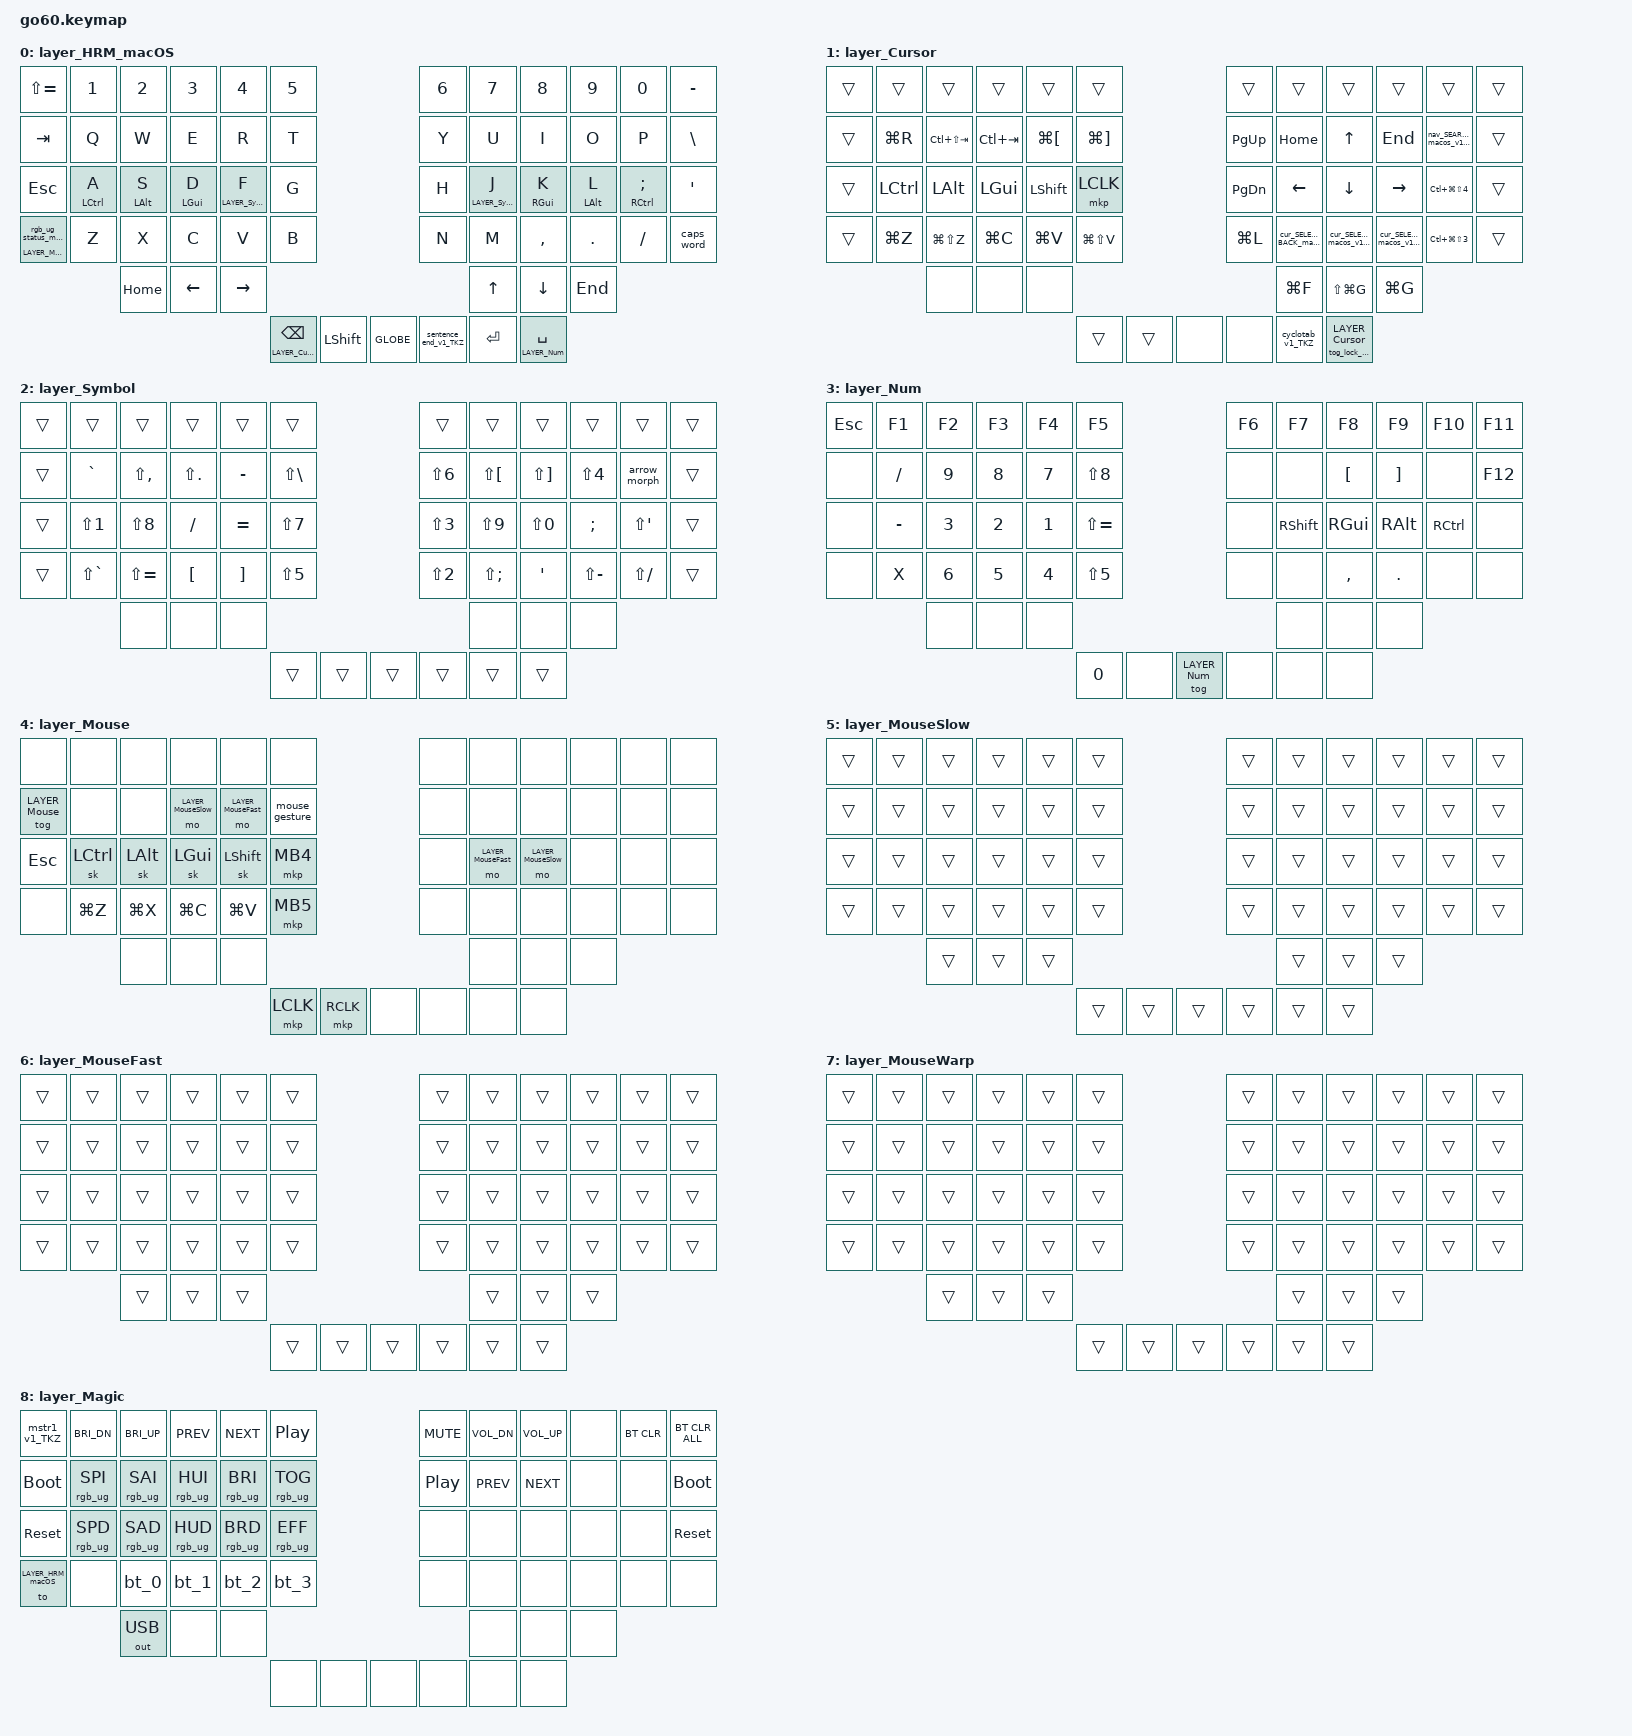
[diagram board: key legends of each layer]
/*
 * Copyright (c) 2020 The ZMK Contributors
 * Copyright (c) 2025 Innaworks Development Limited, trading as MoErgo
 *
 * SPDX-License-Identifier: MIT
 */


/* THIS FILE WAS GENERATED BY GO60 LAYOUT EDITOR
 *
 * This file was generated automatically. You may or may not want to
 * edit it directly.
 */

#include <behaviors.dtsi>

/* Include all behavior includes needed */

#include <dt-bindings/zmk/outputs.h>
#include <dt-bindings/zmk/keys.h>
#include <dt-bindings/zmk/modifiers.h>
#include <dt-bindings/zmk/bt.h>
#include <dt-bindings/zmk/rgb.h>

#include <input/processors.dtsi>
#include <dt-bindings/zmk/input_transform.h>
#include <zephyr/dt-bindings/input/input-event-codes.h>

/* On demand includes */
#include <dt-bindings/zmk/input_transform.h>
#include <dt-bindings/zmk/pointing.h>
#include <input/processors.dtsi>
#include <mouse-gesture.dtsi>

/* Helper Macros, based on https://github.com/urob/zmk-helpers/ */

#pragma once

#define ZMK_HELPER_STRINGIFY(x) #x

// Preprocessor mechanism to overload macros, cf. https://stackoverflow.com/a/27051616/6114651
#define VARGS_(_10, _9, _8, _7, _6, _5, _4, _3, _2, _1, N, ...) N
#define VARGS(...) VARGS_(__VA_ARGS__, 10, 9, 8, 7, 6, 5, 4, 3, 2, 1, 0)
#define CONCAT_(a, b) a##b
#define CONCAT(a, b) CONCAT_(a, b)

/* Key positions */

#define POS_LH_C6R1 0
#define POS_LH_C5R1 1
#define POS_LH_C4R1 2
#define POS_LH_C3R1 3
#define POS_LH_C2R1 4
#define POS_LH_C1R1 5
#define POS_RH_C1R1 6
#define POS_RH_C2R1 7
#define POS_RH_C3R1 8
#define POS_RH_C4R1 9
#define POS_RH_C5R1 10
#define POS_RH_C6R1 11
#define POS_LH_C6R2 12
#define POS_LH_C5R2 13
#define POS_LH_C4R2 14
#define POS_LH_C3R2 15
#define POS_LH_C2R2 16
#define POS_LH_C1R2 17
#define POS_RH_C1R2 18
#define POS_RH_C2R2 19
#define POS_RH_C3R2 20
#define POS_RH_C4R2 21
#define POS_RH_C5R2 22
#define POS_RH_C6R2 23
#define POS_LH_C6R3 24
#define POS_LH_C5R3 25
#define POS_LH_C4R3 26
#define POS_LH_C3R3 27
#define POS_LH_C2R3 28
#define POS_LH_C1R3 29
#define POS_RH_C1R3 30
#define POS_RH_C2R3 31
#define POS_RH_C3R3 32
#define POS_RH_C4R3 33
#define POS_RH_C5R3 34
#define POS_RH_C6R3 35
#define POS_LH_C6R4 36
#define POS_LH_C5R4 37
#define POS_LH_C4R4 38
#define POS_LH_C3R4 39
#define POS_LH_C2R4 40
#define POS_LH_C1R4 41
#define POS_RH_C1R4 42
#define POS_RH_C2R4 43
#define POS_RH_C3R4 44
#define POS_RH_C4R4 45
#define POS_RH_C5R4 46
#define POS_RH_C6R4 47
#define POS_LH_C4R5 48
#define POS_LH_C3R5 49
#define POS_LH_C2R5 50
#define POS_RH_C2R5 51
#define POS_RH_C3R5 52
#define POS_RH_C4R5 53
#define POS_LH_T1 54
#define POS_LH_T2 55
#define POS_LH_T3 56
#define POS_RH_T3 57
#define POS_RH_T2 58
#define POS_RH_T1 59


#define LEFT_HAND_KEYS \
  POS_LH_C1R1 POS_LH_C2R1 POS_LH_C3R1 POS_LH_C4R1 POS_LH_C5R1 POS_LH_C6R1 \
  POS_LH_C1R2 POS_LH_C2R2 POS_LH_C3R2 POS_LH_C4R2 POS_LH_C5R2 POS_LH_C6R2 \
  POS_LH_C1R3 POS_LH_C2R3 POS_LH_C3R3 POS_LH_C4R3 POS_LH_C5R3 POS_LH_C6R3 \
  POS_LH_C1R4 POS_LH_C2R4 POS_LH_C3R4 POS_LH_C4R4 POS_LH_C5R4 POS_LH_C6R4 \
              POS_LH_C2R5 POS_LH_C3R5 POS_LH_C4R5

#define RIGHT_HAND_KEYS \
  POS_RH_C1R1 POS_RH_C2R1 POS_RH_C3R1 POS_RH_C4R1 POS_RH_C5R1 POS_RH_C6R1 \
  POS_RH_C1R2 POS_RH_C2R2 POS_RH_C3R2 POS_RH_C4R2 POS_RH_C5R2 POS_RH_C6R2 \
  POS_RH_C1R3 POS_RH_C2R3 POS_RH_C3R3 POS_RH_C4R3 POS_RH_C5R3 POS_RH_C6R3 \
  POS_RH_C1R4 POS_RH_C2R4 POS_RH_C3R4 POS_RH_C4R4 POS_RH_C5R4 POS_RH_C6R4 \
              POS_RH_C2R5 POS_RH_C3R5 POS_RH_C4R5

#define THUMB_KEYS \
  POS_LH_T1 POS_LH_T2 POS_LH_T3 \
  POS_RH_T1 POS_RH_T2 POS_RH_T3

#define KEYS_L LEFT_HAND_KEYS
#define KEYS_R RIGHT_HAND_KEYS
#define THUMBS THUMB_KEYS

/* Environment and metadata defines */
#define KB_TYPE_GLOVE_80 1
#define KB_TYPE_GO_60    2

#define KB_TYPE          KB_TYPE_GO_60
#define EDITOR_LAYOUT_OS 'M'
#define EDITOR_HOST_OS   'W'

/* Automatically generated layer name defines */
#define LAYER_HRM_macOS 0
#define LAYER_Cursor 1
#define LAYER_Symbol 2
#define LAYER_Num 3
#define LAYER_Mouse 4
#define LAYER_MouseSlow 5
#define LAYER_MouseFast 6
#define LAYER_MouseWarp 7
#define LAYER_Magic 8

/* Generated input processors */


/* Custom Device-tree */
&zip_mouse_gesture {
    stroke-size = <300>;
    movement-threshold = <3>;
    enable-eager-mode;
    suppress-movement;
    gesture-cooldown-ms = <500>;

    mission_control {
        pattern = <GESTURE_UP>;
        bindings = <&kp LC(UP)>;
    };

    app_expose {
        pattern = <GESTURE_DOWN>;
        bindings = <&kp LC(DOWN)>;
    };

    desktop_left {
        pattern = <GESTURE_LEFT>;
        bindings = <&kp LC(LEFT)>;
    };

    desktop_right {
        pattern = <GESTURE_RIGHT>;
        bindings = <&kp LC(RIGHT)>;
    };
};

/ {
    mouse_mode_indicator {
        compatible = "zmk,mouse-mode-indicator";
        layers = <LAYER_Mouse LAYER_MouseSlow LAYER_MouseFast LAYER_MouseWarp>;
        pixels = <3 4 5 6>;
        color = <40 0 0>;
    };
};


/* Input Listeners */
&mmv_input_listener {
    // LAYER_MouseSlow
    LAYER_MouseSlow {
        layers = <LAYER_MouseSlow>;
        input-processors = <&zip_xy_scaler 1 9>;
    };
    // LAYER_MouseFast
    LAYER_MouseFast {
        layers = <LAYER_MouseFast>;
        input-processors = <&zip_xy_scaler 3 1>;
    };
    // LAYER_MouseFast
    LAYER_MouseWarp {
        layers = <LAYER_MouseWarp>;
        input-processors = <&zip_xy_scaler 12 1>;
    };
};

&cirque_lh_listener {
    input-processors = <&zip_xy_scaler 1 21>, <&zip_xy_transform INPUT_TRANSFORM_Y_INVERT>, <&zip_xy_to_scroll_mapper>, <&zip_temp_layer LAYER_Mouse 250>;
    layer_MouseSlow {
        layers = <LAYER_MouseSlow>;
        input-processors = <&zip_xy_scaler 1 42>, <&zip_xy_transform INPUT_TRANSFORM_Y_INVERT>, <&zip_xy_to_scroll_mapper>;
    };
    layer_MouseFast {
        layers = <LAYER_MouseFast>;
        input-processors = <&zip_xy_scaler 2 21>, <&zip_xy_transform INPUT_TRANSFORM_Y_INVERT>, <&zip_xy_to_scroll_mapper>;
    };
    layer_MouseWarp {
        layers = <LAYER_MouseWarp>;
        input-processors = <&zip_xy_scaler 4 21>, <&zip_xy_transform INPUT_TRANSFORM_Y_INVERT>, <&zip_xy_to_scroll_mapper>;
    };
};

&cirque_rh_listener {
    input-processors = <&zip_xy_scaler 4 1>, <&zip_mouse_gesture>, <&zip_temp_layer LAYER_Mouse 250>;
    layer_MouseSlow {
        layers = <LAYER_MouseSlow>;
        input-processors = <&zip_xy_scaler 2 1>, <&zip_mouse_gesture>;
    };
    layer_MouseFast {
        layers = <LAYER_MouseFast>;
        input-processors = <&zip_xy_scaler 8 1>, <&zip_mouse_gesture>;
    };
};

/* System behavior and macros */
/ {
    macros {
        rgb_ug_status_macro: rgb_ug_status_macro {
            label = "RGB_UG_STATUS";
            compatible = "zmk,behavior-macro";
            #binding-cells = <0>;
            bindings
                = <&rgb_ug RGB_STATUS>;
        };
    };
};

/ {
#ifdef BT_DISC_CMD
    behaviors {
        bt_0: bt_0 {
            compatible = "zmk,behavior-tap-dance";
            label = "BT_0";
            #binding-cells = <0>;
            tapping-term-ms = <200>;
            bindings = <&bt_select_0>, <&bt BT_DISC 0>;
        };
        bt_1: bt_1 {
            compatible = "zmk,behavior-tap-dance";
            label = "BT_1";
            #binding-cells = <0>;
            tapping-term-ms = <200>;
            bindings = <&bt_select_1>, <&bt BT_DISC 1>;
        };
        bt_2: bt_2 {
            compatible = "zmk,behavior-tap-dance";
            label = "BT_2";
            #binding-cells = <0>;
            tapping-term-ms = <200>;
            bindings = <&bt_select_2>, <&bt BT_DISC 2>;
        };
        bt_3: bt_3 {
            compatible = "zmk,behavior-tap-dance";
            label = "BT_3";
            #binding-cells = <0>;
            tapping-term-ms = <200>;
            bindings = <&bt_select_3>, <&bt BT_DISC 3>;
        };
    };
    macros {
        bt_select_0: bt_select_0 {
            label = "BT_SELECT_0";
            compatible = "zmk,behavior-macro";
            #binding-cells = <0>;
            bindings
                = <&out OUT_BLE>,
                  <&bt BT_SEL 0>;
        };
        bt_select_1: bt_select_1 {
            label = "BT_SELECT_1";
            compatible = "zmk,behavior-macro";
            #binding-cells = <0>;
            bindings
                = <&out OUT_BLE>,
                  <&bt BT_SEL 1>;
        };
        bt_select_2: bt_select_2 {
            label = "BT_SELECT_2";
            compatible = "zmk,behavior-macro";
            #binding-cells = <0>;
            bindings
                = <&out OUT_BLE>,
                  <&bt BT_SEL 2>;
        };
        bt_select_3: bt_select_3 {
            label = "BT_SELECT_3";
            compatible = "zmk,behavior-macro";
            #binding-cells = <0>;
            bindings
                = <&out OUT_BLE>,
                  <&bt BT_SEL 3>;
        };
    };
#else
    macros {
        bt_0: bt_0 {
            label = "BT_0";
            compatible = "zmk,behavior-macro";
            #binding-cells = <0>;
            bindings
                = <&out OUT_BLE>,
                  <&bt BT_SEL 0>;
        };
        bt_1: bt_1 {
            label = "BT_1";
            compatible = "zmk,behavior-macro";
            #binding-cells = <0>;
            bindings
                = <&out OUT_BLE>,
                  <&bt BT_SEL 1>;
        };
        bt_2: bt_2 {
            label = "BT_2";
            compatible = "zmk,behavior-macro";
            #binding-cells = <0>;
            bindings
                = <&out OUT_BLE>,
                  <&bt BT_SEL 2>;
        };
        bt_3: bt_3 {
            label = "BT_3";
            compatible = "zmk,behavior-macro";
            #binding-cells = <0>;
            bindings
                = <&out OUT_BLE>,
                  <&bt BT_SEL 3>;
        };
    };
#endif
};

/ {
    behaviors {
        magic: magic {
            compatible = "zmk,behavior-hold-tap";
            label = "MAGIC_HOLD_TAP";
            #binding-cells = <2>;
            flavor = "tap-preferred";
            tapping-term-ms = <200>;
            bindings = <&mo>, <&rgb_ug_status_macro>;
        };
    };
};


/* Custom Defined Behaviors */
/ {
    behaviors {
        tog_lock_v1_TKZ: toggle_layer_lock_v1_TKZ {
            compatible = "zmk,behavior-toggle-layer";
            #binding-cells = <1>;
            display-name = "Locking Toggle Layer";
            toggle-mode = "flip";
            locking;
        };

        arrow_morph: arrow_morph {
            compatible = "zmk,behavior-mod-morph";
            #binding-cells = <0>;
            bindings = <&arrow_alt_morph>, <&arrow_shift_alt_morph>;
            mods = <(MOD_LSFT|MOD_RSFT)>;
        };

        arrow_alt_morph: arrow_alt_morph {
            compatible = "zmk,behavior-mod-morph";
            #binding-cells = <0>;
            bindings = <&arrow_plain_macro>, <&arrow_alt_macro>;
            mods = <(MOD_LALT|MOD_RALT)>;
        };

        arrow_shift_alt_morph: arrow_shift_alt_morph {
            compatible = "zmk,behavior-mod-morph";
            #binding-cells = <0>;
            bindings = <&arrow_shift_macro>, <&arrow_shift_alt_macro>;
            mods = <(MOD_LALT|MOD_RALT)>;
        };
    };
};

/* Automatically generated macro definitions */
/ {
    macros {

        arrow_plain_macro: arrow_plain_macro {
            label = "&ARROW_PLAIN_MACRO";
            compatible = "zmk,behavior-macro";
            #binding-cells = <0>;
            tap-ms = <0>;
            wait-ms = <0>;
            bindings = <&macro_tap>
                , <&kp MINUS>
                , <&kp LS(DOT)>;
        };

        arrow_shift_macro: arrow_shift_macro {
            label = "&ARROW_SHIFT_MACRO";
            compatible = "zmk,behavior-macro";
            #binding-cells = <0>;
            tap-ms = <0>;
            wait-ms = <0>;
            bindings = <&macro_tap>
                , <&kp EQUAL>
                , <&kp LS(DOT)>;
        };

        arrow_alt_macro: arrow_alt_macro {
            label = "&ARROW_ALT_MACRO";
            compatible = "zmk,behavior-macro";
            #binding-cells = <0>;
            tap-ms = <0>;
            wait-ms = <0>;
            bindings = <&macro_tap>
                , <&kp LS(COMMA)>
                , <&kp MINUS>
                , <&kp LS(DOT)>;
        };

        arrow_shift_alt_macro: arrow_shift_alt_macro {
            label = "&ARROW_SHIFT_ALT_MACRO";
            compatible = "zmk,behavior-macro";
            #binding-cells = <0>;
            tap-ms = <0>;
            wait-ms = <0>;
            bindings = <&macro_tap>
                , <&kp LS(COMMA)>
                , <&kp EQUAL>
                , <&kp LS(DOT)>;
        };

        sentence_end_v1_TKZ: sentence_end_v1_TKZ {
            label = "&SENTENCE_END_V1_TKZ";
            compatible = "zmk,behavior-macro";
            #binding-cells = <0>;
            tap-ms = <1>;
            wait-ms = <1>;
            bindings = <&macro_tap>
                , <&kp DOT>
                , <&kp SPACE>
                , <&skq LSHFT>;
        };

        // AutoShift Helper- &AS main macro is chained to &AS_HT hold tap and &AS_Shifted macro - TailorKey
        AS_Shifted_v1_TKZ: AS_Shifted_v1_TKZ {
            label = "&AS_SHIFTED_V1_TKZ";
            compatible = "zmk,behavior-macro-one-param";
            #binding-cells = <1>;
            tap-ms = <0>;
            wait-ms = <0>;
            bindings = <&macro_press>
                , <&kp LSHFT>
                , <&macro_tap>
                , <&macro_param_1to1>
                , <&kp MACRO_PLACEHOLDER>
                , <&macro_release>
                , <&kp LSHFT>;
        };

        // AutoShift (Assign &AS to a Key) - &AS main macro is chained to &AS_HT hold tap and &AS_Shifted macro - TailorKey
        AS_v1_TKZ: AS_v1_TKZ {
            label = "&AS_V1_TKZ";
            compatible = "zmk,behavior-macro-one-param";
            #binding-cells = <1>;
            tap-ms = <0>;
            wait-ms = <0>;
            bindings = <&macro_press>
                , <&macro_param_1to1>
                , <&macro_param_1to2>
                , <&AS_HT_v2_TKZ MACRO_PLACEHOLDER MACRO_PLACEHOLDER>
                , <&macro_pause_for_release>
                , <&macro_release>
                , <&macro_param_1to1>
                , <&macro_param_1to2>
                , <&AS_HT_v2_TKZ MACRO_PLACEHOLDER MACRO_PLACEHOLDER>;
        };

        // Cursor Layer macos - Select Line (seq) - TailorKey
        cur_SELECT_LINE_macos_v1_TKZ: cur_SELECT_LINE_macos_v1_TKZ {
            label = "&CUR_SELECT_LINE_MACOS_V1_TKZ";
            compatible = "zmk,behavior-macro";
            #binding-cells = <0>;
            tap-ms = <1>;
            wait-ms = <1>;
            bindings = <&kp LG(LEFT)>
                , <&kp LG(LS(RIGHT))>;
        };

        // Cursor Layer - Search Selected Text
        nav_SEARCH_SELECTED_macos_v1_TKZ: nav_SEARCH_SELECTED_macos_v1_TKZ {
            label = "&NAV_SEARCH_SELECTED_MACOS_V1_TKZ";
            compatible = "zmk,behavior-macro";
            #binding-cells = <0>;
            tap-ms = <1>;
            wait-ms = <50>;
            bindings = <&kp LG(C)>
                , <&kp LG(T)>
                , <&kp LG(V)>
                , <&kp RET>;
        };

        // Cursor Layer - Select Word Forward Start
        cur_SELECT_WORD_START_macos_v1_TKZ: cur_SELECT_WORD_START_macos_v1_TKZ {
            label = "&CUR_SELECT_WORD_START_MACOS_V1_TKZ";
            compatible = "zmk,behavior-macro";
            #binding-cells = <0>;
            tap-ms = <1>;
            wait-ms = <1>;
            bindings = <&kp LA(RIGHT)>
                , <&kp LA(LEFT)>;
        };

        // Cursor Layer - Select Word Backward Start
        cur_SELECT_WORD_BACK_START_macos_v1_TKZ: cur_SELECT_WORD_BACK_START_macos_v1_TKZ {
            label = "&CUR_SELECT_WORD_BACK_START_MACOS_V1_TKZ";
            compatible = "zmk,behavior-macro";
            #binding-cells = <0>;
            tap-ms = <1>;
            wait-ms = <1>;
            bindings = <&kp LA(LEFT)>
                , <&kp LA(RIGHT)>;
        };

        // Cursor Layer - Select Word
        cur_SELECT_WORD_macos_v1_TKZ: cur_SELECT_WORD_macos_v1_TKZ {
            label = "&CUR_SELECT_WORD_MACOS_V1_TKZ";
            compatible = "zmk,behavior-tri-state";
            #binding-cells = <0>;
            bindings = <&cur_SELECT_WORD_START_macos_v1_TKZ>, <&kp LA(LS(RIGHT))>, <&none>;
            timeout-ms = <2000>;
            tap-ms = <1>;
        };

        // Cursor Layer - Select Word Back
        cur_SELECT_WORD_BACK_macos_v1_TKZ: cur_SELECT_WORD_BACK_macos_v1_TKZ {
            label = "&CUR_SELECT_WORD_BACK_MACOS_V1_TKZ";
            compatible = "zmk,behavior-tri-state";
            #binding-cells = <0>;
            bindings = <&cur_SELECT_WORD_BACK_START_macos_v1_TKZ>, <&kp LA(LS(LEFT))>, <&none>;
            timeout-ms = <2000>;
            tap-ms = <1>;
        };

        // cyclotab - Voyager style app switcher
        cyclotab_v1_TKZ: cyclotab_v1_TKZ {
            label = "&CYCLOTAB_V1_TKZ";
            compatible = "zmk,behavior-tri-state";
            #binding-cells = <0>;
            bindings = <&kt LGUI>, <&kp TAB>, <&kt LGUI>;
            ignored-key-positions = <POS_LH_C2R3>;
            ignored-layers = <LAYER_Cursor>;
            timeout-ms = <1000>;
            tap-ms = <1>;
        };

        // macro string1 sample - Magic Layer F1 - Text output sample macro 1 "¡Hola!" - TailorKey
        mstr1_v1_TKZ: mstr1_v1_TKZ {
            label = "&MSTR1_V1_TKZ";
            compatible = "zmk,behavior-macro";
            #binding-cells = <0>;
            bindings = <&macro_press>
                , <&kp RALT>
                , <&macro_tap>
                , <&kp KP_N0>
                , <&kp KP_N1>
                , <&kp KP_N6>
                , <&kp KP_N1>
                , <&macro_release>
                , <&kp RALT>
                , <&macro_press>
                , <&kp LSHFT>
                , <&macro_tap>
                , <&kp H>
                , <&macro_release>
                , <&kp LSHFT>
                , <&macro_tap>
                , <&kp O>
                , <&kp L>
                , <&kp A>
                , <&kp LS(N1)>
                , <&kp SPACE>
                , <&kp RET>;
        };

        // Symbol layer dot dot
        symb_dotdot_v1_TKZ: symb_dotdot_v1_TKZ {
            label = "&SYMB_DOTDOT_V1_TKZ";
            compatible = "zmk,behavior-macro";
            #binding-cells = <0>;
            tap-ms = <0>;
            wait-ms = <0>;
            bindings = <&macro_tap>
                , <&kp DOT>
                , <&kp DOT>;
        };
    };
};

/* Automatically generated behavior definitions */
/ {
    behaviors {
        // AutoShift Helper - &AS main macro is chained to &AS_HT hold tap and &AS_Shifted macro. For faster typists, it is recommended to decrease the tapping-term-ms value. A suggested value is 135 ms.
        // More: https://github.com/nickcoutsos/keymap-editor/wiki/Autoshift-using-ZMK-behaviors
        AS_HT_v2_TKZ: AS_HT_v2_TKZ {
            compatible = "zmk,behavior-hold-tap";
            #binding-cells = <2>;
            tapping-term-ms = <190>;
            bindings = <&AS_Shifted_v1_TKZ>, <&kp>;
            flavor = "tap-preferred";
        };

        // Homerow Mod for the left index finger - TailorKey.
        // For advanced tuning of HRM values, see: https://docs.google.com/spreadsheets/d/1ESgObQelyz4lnKlfwLYsmofLJulOMK5RdGBsopLe2o8
        HRM_left_index_v1_TKZ: HRM_left_index_v1_TKZ {
            compatible = "zmk,behavior-hold-tap";
            #binding-cells = <2>;
            tapping-term-ms = <280>;
            bindings = <&kp>, <&kp>;
            flavor = "balanced";
            quick-tap-ms = <125>;
            require-prior-idle-ms = <100>;
            hold-trigger-key-positions = <KEYS_R THUMBS>;
            hold-trigger-on-release;
            hold-while-undecided;
        };

        // Symbol layer access for the left index finger.
        sym_left_index_v1_TKZ: sym_left_index_v1_TKZ {
            compatible = "zmk,behavior-hold-tap";
            #binding-cells = <2>;
            tapping-term-ms = <280>;
            bindings = <&mo>, <&kp>;
            flavor = "balanced";
            quick-tap-ms = <125>;
            require-prior-idle-ms = <100>;
            hold-trigger-key-positions = <KEYS_R THUMBS>;
            hold-trigger-on-release;
            hold-while-undecided;
        };

        // Homerow Mod for the left middle finger - TailorKey
        HRM_left_middy_v1_TKZ: HRM_left_middy_v1_TKZ {
            compatible = "zmk,behavior-hold-tap";
            #binding-cells = <2>;
            tapping-term-ms = <280>;
            bindings = <&kp>, <&kp>;
            flavor = "balanced";
            quick-tap-ms = <125>;
            require-prior-idle-ms = <150>;
            hold-trigger-key-positions = <KEYS_R THUMBS>;
            hold-trigger-on-release;
            hold-while-undecided;
        };

        // Homerow Mod for the left pinky - TailorKey
        HRM_left_pinky_v1_TKZ: HRM_left_pinky_v1_TKZ {
            compatible = "zmk,behavior-hold-tap";
            #binding-cells = <2>;
            tapping-term-ms = <280>;
            bindings = <&kp>, <&kp>;
            flavor = "balanced";
            quick-tap-ms = <125>;
            require-prior-idle-ms = <150>;
            hold-trigger-key-positions = <KEYS_R THUMBS>;
            hold-trigger-on-release;
            hold-while-undecided;
        };

        // Homerow Mod for the left ring finger 1 - TailorKey
        HRM_left_ring_v1_TKZ: HRM_left_ring_v1_TKZ {
            compatible = "zmk,behavior-hold-tap";
            #binding-cells = <2>;
            tapping-term-ms = <280>;
            bindings = <&kp>, <&kp>;
            flavor = "balanced";
            quick-tap-ms = <125>;
            require-prior-idle-ms = <150>;
            hold-trigger-key-positions = <KEYS_R THUMBS>;
            hold-trigger-on-release;
            hold-while-undecided;
        };

        // Homerow Mod for the right index finger - TailorKey
        HRM_right_index_v1_TKZ: HRM_right_index_v1_TKZ {
            compatible = "zmk,behavior-hold-tap";
            #binding-cells = <2>;
            tapping-term-ms = <280>;
            bindings = <&kp>, <&kp>;
            flavor = "balanced";
            quick-tap-ms = <125>;
            require-prior-idle-ms = <100>;
            hold-trigger-key-positions = <KEYS_L THUMBS>;
            hold-trigger-on-release;
            hold-while-undecided;
        };

        // Symbol layer access for the right index finger.
        sym_right_index_v1_TKZ: sym_right_index_v1_TKZ {
            compatible = "zmk,behavior-hold-tap";
            #binding-cells = <2>;
            tapping-term-ms = <280>;
            bindings = <&mo>, <&kp>;
            flavor = "balanced";
            quick-tap-ms = <125>;
            require-prior-idle-ms = <100>;
            hold-trigger-key-positions = <KEYS_L THUMBS>;
            hold-trigger-on-release;
            hold-while-undecided;
        };

        // Homerow Mod for the right middle finger - TailorKey
        HRM_right_middy_v1_TKZ: HRM_right_middy_v1_TKZ {
            compatible = "zmk,behavior-hold-tap";
            #binding-cells = <2>;
            tapping-term-ms = <280>;
            bindings = <&kp>, <&kp>;
            flavor = "balanced";
            quick-tap-ms = <125>;
            require-prior-idle-ms = <150>;
            hold-trigger-key-positions = <KEYS_L THUMBS>;
            hold-trigger-on-release;
            hold-while-undecided;
        };

        // Homerow Mod for the right pinky - TailorKey
        HRM_right_pinky_v1_TKZ: HRM_right_pinky_v1_TKZ {
            compatible = "zmk,behavior-hold-tap";
            #binding-cells = <2>;
            tapping-term-ms = <280>;
            bindings = <&kp>, <&kp>;
            flavor = "balanced";
            quick-tap-ms = <125>;
            require-prior-idle-ms = <150>;
            hold-trigger-key-positions = <KEYS_L THUMBS>;
            hold-trigger-on-release;
            hold-while-undecided;
        };

        // Homerow Mod for the right ring 1 - TailorKey
        //
        HRM_right_ring_v1_TKZ: HRM_right_ring_v1_TKZ {
            compatible = "zmk,behavior-hold-tap";
            #binding-cells = <2>;
            tapping-term-ms = <280>;
            bindings = <&kp>, <&kp>;
            flavor = "balanced";
            quick-tap-ms = <125>;
            require-prior-idle-ms = <150>;
            hold-trigger-key-positions = <KEYS_L THUMBS>;
            hold-trigger-on-release;
            hold-while-undecided;
        };

        // thumb_layer_access - TailorKey
        thumb_v2_TKZ: thumb_v2_TKZ {
            compatible = "zmk,behavior-hold-tap";
            #binding-cells = <2>;
            tapping-term-ms = <200>;
            bindings = <&mo>, <&kp>;
            flavor = "balanced";
            quick-tap-ms = <300>;
        };

        skq: sticky_key_quick_release {
            compatible = "zmk,behavior-sticky-key";
            label = "STICKY_KEY_QUICK_RELEASE";
            #binding-cells = <1>;
            bindings = <&kp>;
            release-after-ms = <1000>;
            quick-release;
            ignore-modifiers;
        };

        // thumb_layer_sticky_access - TailorKey
        thumb_sk_v1_TKZ: thumb_sk_v1_TKZ {
            compatible = "zmk,behavior-hold-tap";
            #binding-cells = <2>;
            tapping-term-ms = <200>;
            bindings = <&mo>, <&skq>;
            flavor = "balanced";
            quick-tap-ms = <300>;
        };
    };
};

/* Automatically generated combos definitions */
/ {
    combos {
        compatible = "zmk,combos";

        // F1 combo for Go60 - TailorKey
        combo_F1_cb_v1_TKZ {
            key-positions = <POS_LH_C5R1 POS_LH_C5R2>;
            bindings = <&kp F1>;
            layers = <LAYER_HRM_macOS>;
        };

        // F10 combo for Go60 - TailorKey
        combo_F10_cb_v1_TKZ {
            key-positions = <POS_RH_C5R1 POS_RH_C5R2>;
            bindings = <&kp F10>;
            layers = <LAYER_HRM_macOS>;
        };

        // F11 combo for Go60 - TailorKey
        combo_F11_cb_v1_TKZ {
            key-positions = <POS_RH_C6R1 POS_RH_C6R2>;
            bindings = <&kp F11>;
            layers = <LAYER_HRM_macOS>;
        };

        // F12 combo for Go60 - TailorKey
        combo_F12_cb_v1_TKZ {
            key-positions = <POS_RH_C5R1 POS_RH_C6R1>;
            bindings = <&kp F12>;
            layers = <LAYER_HRM_macOS>;
        };

        // F2 combo for Go60 - TailorKey
        combo_F2_cb_v1_TKZ {
            key-positions = <POS_LH_C4R2 POS_LH_C4R1>;
            bindings = <&kp F2>;
            layers = <LAYER_HRM_macOS>;
        };

        // F3 combo for Go60 - TailorKey
        combo_F3_cb_v1_TKZ {
            key-positions = <POS_LH_C3R2 POS_LH_C3R1>;
            bindings = <&kp F3>;
            layers = <LAYER_HRM_macOS>;
        };

        // F4 combo for Go60 - TailorKey
        combo_F4_cb_v1_TKZ {
            key-positions = <POS_LH_C2R2 POS_LH_C2R1>;
            bindings = <&kp F4>;
            layers = <LAYER_HRM_macOS>;
        };

        // F5 combo for Go60 - TailorKey
        combo_F5_cb_v1_TKZ {
            key-positions = <POS_LH_C1R2 POS_LH_C1R1>;
            bindings = <&kp F5>;
            layers = <LAYER_HRM_macOS>;
        };

        // F6 combo for Go60 - TailorKey
        combo_F6_cb_v1_TKZ {
            key-positions = <POS_RH_C1R1 POS_RH_C1R2>;
            bindings = <&kp F6>;
            layers = <LAYER_HRM_macOS>;
        };

        // F7 combo for Go60 - TailorKey
        combo_F7_cb_v1_TKZ {
            key-positions = <POS_RH_C2R1 POS_RH_C2R2>;
            bindings = <&kp F7>;
            layers = <LAYER_HRM_macOS>;
        };

        // F8 combo for Go60 - TailorKey
        combo_F8_cb_v1_TKZ {
            key-positions = <POS_RH_C3R1 POS_RH_C3R2>;
            bindings = <&kp F8>;
            layers = <LAYER_HRM_macOS>;
        };

        // F9 combo for Go60 - TailorKey
        combo_F9_cb_v1_TKZ {
            key-positions = <POS_RH_C4R1 POS_RH_C4R2>;
            bindings = <&kp F9>;
            layers = <LAYER_HRM_macOS>;
        };

    };
};

/* Automatically generated keymap */
/ {
    keymap {
        compatible = "zmk,keymap";


        layer_HRM_macOS {
            bindings = <
       &kp LS(EQUAL)                      &kp N1                        &kp N2                         &kp N3                          &kp N4  &kp N5                                                                                                                                                            &kp N6                           &kp N7                          &kp N8                         &kp N9                              &kp N0         &kp MINUS
           &kp TAB                           &kp Q                         &kp W                          &kp E                           &kp R   &kp T                                                                                                                                                             &kp Y                            &kp U                           &kp I                          &kp O                               &kp P          &kp BSLH
         &kp ESC  &HRM_left_pinky_v1_TKZ LCTRL A  &HRM_left_ring_v1_TKZ LALT S  &HRM_left_middy_v1_TKZ LGUI D  &sym_left_index_v1_TKZ LAYER_Symbol F   &kp G                                                                                                                                                             &kp H  &sym_right_index_v1_TKZ LAYER_Symbol J  &HRM_right_middy_v1_TKZ RGUI K  &HRM_right_ring_v1_TKZ LALT L  &HRM_right_pinky_v1_TKZ RCTRL SEMI           &kp SQT
&magic LAYER_Magic 0                         &kp Z                         &kp X                          &kp C                           &kp V   &kp B                                                                                                                                                             &kp N                            &kp M                       &kp COMMA                        &kp DOT                            &kp FSLH     &caps_word
                                                                      &kp HOME                       &kp LEFT                       &kp RIGHT                                                                                                                                                                                                     &kp UP                        &kp DOWN                        &kp END
                                                                                                                                                            &thumb_v2_TKZ LAYER_Cursor BSPC  &kp LSHFT  &kp GLOBE  &sentence_end_v1_TKZ  &kp RET  &thumb_v2_TKZ LAYER_Num SPACE
            >;
        };

        layer_Cursor {
            bindings = <
              &trans       &trans         &trans        &trans            &trans              &trans                                                                                                                         &trans     &trans       &trans      &trans        &trans                            &trans
              &trans    &kp LG(R)  &kp LC(LS(TAB))  &kp LC(TAB)       &kp LG(LBKT)        &kp LG(RBKT)                                                                                                                 &kp PG_UP  &kp HOME     &kp UP      &kp END       &nav_SEARCH_SELECTED_macos_v1_TKZ &trans
              &trans  &kp LCTRL        &kp LALT        &kp LGUI         &kp LSHFT          &mkp LCLK                                                                                                                         &kp PG_DN  &kp LEFT     &kp DOWN    &kp RIGHT     &kp LC(LG(LS(N4)))              &trans
              &trans   &kp LG(Z)   &kp LG(LS(Z))     &kp LG(C)        &kp LG(V)      &kp LG(LS(V))                                                                                                                          &kp LG(L)  &cur_SELECT_WORD_BACK_macos_v1_TKZ  &cur_SELECT_WORD_macos_v1_TKZ  &cur_SELECT_LINE_macos_v1_TKZ  &kp LC(LG(LS(N3)))  &trans
                                               &none                         &none             &none                                                                                                                                                          &kp LG(F)     &kp LS(LG(G))        &kp LG(G)
                                                                                                            &trans           &trans  &none  &none  &cyclotab_v1_TKZ  &tog_lock_v1_TKZ LAYER_Cursor
            >;
        };

        layer_Symbol {
            bindings = <
             &trans           &trans         &trans       &trans       &trans        &trans                                                                           &trans       &trans        &trans        &trans       &trans        &trans
             &trans        &kp GRAVE  &kp LS(COMMA)  &kp LS(DOT)    &kp MINUS  &kp LS(BSLH)                                                                       &kp LS(N6)  &kp LS(LBKT)  &kp LS(RBKT)  &kp LS(N4)  &arrow_morph        &trans
             &trans       &kp LS(N1)     &kp LS(N8)     &kp FSLH    &kp EQUAL    &kp LS(N7)                                                                       &kp LS(N3)    &kp LS(N9)    &kp LS(N0)    &kp SEMI  &kp LS(SINGLE_QUOTE) &trans
             &trans    &kp LS(GRAVE)  &kp LS(EQUAL)     &kp LBKT     &kp RBKT    &kp LS(N5)                                                                       &kp LS(N2)  &kp LS(SEMI)      &kp SQT      &kp LS(MINUS)  &kp LS(FSLH)        &trans
                                             &none          &none        &none                                                                                               &none        &none        &none
                                                                                                         &trans       &trans        &trans       &trans       &trans        &trans
            >;
        };

        layer_Num {
            bindings = <
   &kp ESC         &kp F1     &kp F2     &kp F3     &kp F4          &kp F5                                                           &kp F6     &kp F7      &kp F8      &kp F9     &kp F10     &kp F11
     &none       &kp FSLH     &kp N9     &kp N8     &kp N7      &kp LS(N8)                                                         &none      &none    &kp LBKT    &kp RBKT     &none     &kp F12
     &none      &kp MINUS     &kp N3     &kp N2     &kp N1   &kp LS(EQUAL)                                                       &none  &kp RSHFT    &kp RGUI    &kp RALT  &kp RCTRL      &none
     &none          &kp X     &kp N6     &kp N5     &kp N4      &kp LS(N5)                                                         &none      &none   &kp COMMA     &kp DOT     &none      &none
                              &none      &none      &none                                                                                         &none      &none      &none
                                                                            &kp N0        &none     &tog LAYER_Num      &none      &none      &none
            >;
        };

        layer_Mouse {
            bindings = <
 &none  &none     &none                 &none                 &none                 &none       &none  &none                 &none                 &none                 &none  &none
 &tog LAYER_Mouse  &none     &none                 &mo LAYER_MouseSlow  &mo LAYER_MouseFast  &mouse_gesture  &none  &none                 &none                 &none                 &none  &none
&kp ESC  &sk LCTRL &sk LALT              &sk LGUI              &sk LSHFT             &mkp MB4    &none  &mo LAYER_MouseFast  &mo LAYER_MouseSlow  &none                 &none  &none
 &none  &kp LG(Z) &kp LG(X)            &kp LG(C)             &kp LG(V)             &mkp MB5    &none  &none                 &none                 &none                 &none  &none
                 &none                &none                 &none                                                       &none  &none  &none
                                                                                       &mkp LCLK  &mkp RCLK  &none  &none  &none  &none
            >;
        };

        layer_MouseSlow {
            bindings = <
 &trans  &trans  &trans  &trans  &trans  &trans                                                  &trans  &trans  &trans  &trans  &trans  &trans
 &trans  &trans  &trans  &trans  &trans  &trans                                                  &trans  &trans  &trans  &trans  &trans  &trans
 &trans  &trans  &trans  &trans  &trans  &trans                                                  &trans  &trans  &trans  &trans  &trans  &trans
 &trans  &trans  &trans  &trans  &trans  &trans                                                  &trans  &trans  &trans  &trans  &trans  &trans
                 &trans  &trans  &trans                                                                  &trans  &trans  &trans
                                                 &trans  &trans  &trans  &trans  &trans  &trans
            >;
        };

        layer_MouseFast {
            bindings = <
 &trans  &trans  &trans  &trans  &trans  &trans                                                  &trans  &trans  &trans  &trans  &trans  &trans
 &trans  &trans  &trans  &trans  &trans  &trans                                                  &trans  &trans  &trans  &trans  &trans  &trans
 &trans  &trans  &trans  &trans  &trans  &trans                                                  &trans  &trans  &trans  &trans  &trans  &trans
 &trans  &trans  &trans  &trans  &trans  &trans                                                  &trans  &trans  &trans  &trans  &trans  &trans
                 &trans  &trans  &trans                                                                  &trans  &trans  &trans
                                                 &trans  &trans  &trans  &trans  &trans  &trans
            >;
        };

        layer_MouseWarp {
            bindings = <
 &trans  &trans  &trans  &trans  &trans  &trans                                                  &trans  &trans  &trans  &trans  &trans  &trans
 &trans  &trans  &trans  &trans  &trans  &trans                                                  &trans  &trans  &trans  &trans  &trans  &trans
 &trans  &trans  &trans  &trans  &trans  &trans                                                  &trans  &trans  &trans  &trans  &trans  &trans
 &trans  &trans  &trans  &trans  &trans  &trans                                                  &trans  &trans  &trans  &trans  &trans  &trans
                 &trans  &trans  &trans                                                                  &trans  &trans  &trans
                                                 &trans  &trans  &trans  &trans  &trans  &trans
            >;
        };

        layer_Magic {
            bindings = <
       &mstr1_v1_TKZ     &kp C_BRI_DN     &kp C_BRI_UP       &kp C_PREV       &kp C_NEXT         &kp C_PP                                                  &kp C_MUTE  &kp C_VOL_DN  &kp C_VOL_UP   &none  &bt BT_CLR  &bt BT_CLR_ALL
        &bootloader  &rgb_ug RGB_SPI  &rgb_ug RGB_SAI  &rgb_ug RGB_HUI  &rgb_ug RGB_BRI  &rgb_ug RGB_TOG                                                    &kp C_PP    &kp C_PREV    &kp C_NEXT   &none       &none     &bootloader
          &sys_reset  &rgb_ug RGB_SPD  &rgb_ug RGB_SAD  &rgb_ug RGB_HUD  &rgb_ug RGB_BRD  &rgb_ug RGB_EFF                                                       &none         &none         &none   &none       &none      &sys_reset
 &to LAYER_HRM_macOS            &none            &bt_0            &bt_1            &bt_2            &bt_3                                                       &none         &none         &none   &none       &none           &none
                                          &out OUT_USB            &none            &none                                                                                      &none         &none   &none
                                                                                                            &none   &none   &none   &none   &none   &none
            >;
        };

    };
};
